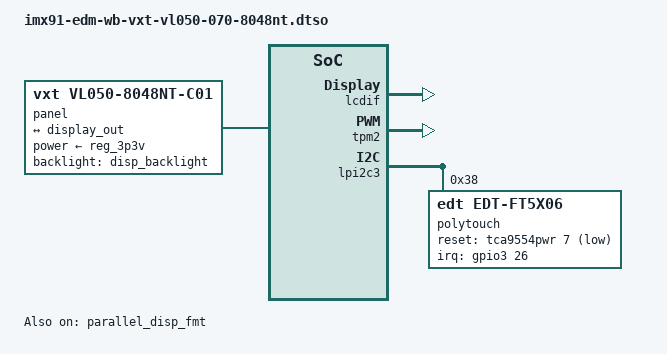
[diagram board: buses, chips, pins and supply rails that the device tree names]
// SPDX-License-Identifier: (GPL-2.0 OR MIT)
/*
 * Copyright 2020 Technexion Ltd.
 *
 * Author: Ray Chang <ray.chang@technexion.com>
 *
 */

/dts-v1/;
/plugin/;

#include <dt-bindings/interrupt-controller/irq.h>
#include <dt-bindings/clock/imx93-clock.h>
#include <dt-bindings/gpio/gpio.h>

&{/} {
	disp_backlight: disp_backlight {
		post-pwm-on-delay-ms = <500>;
		status = "okay";
	};


	panel {
		compatible = "vxt,vl050-8048nt-c01";
		backlight = <&disp_backlight>;
		power-supply = <&reg_3p3v>;

		port {
			panel_in: endpoint {
				remote-endpoint = <&display_out>;
			};
		};
	};
};

&parallel_disp_fmt {
	pinctrl-names = "default";
	pinctrl-0 = <&pinctrl_lcdif>;
	fsl,interface-pix-fmt = "rgb888";
	status = "okay";

	ports {
		#address-cells = <1>;
		#size-cells = <0>;
		port@1 {
			reg = <1>;

			display_out: endpoint {
				remote-endpoint = <&panel_in>;
			};
		};
	};
};

&lcdif {
	assigned-clocks = <&clk IMX93_CLK_VIDEO_PLL>,
			  <&clk IMX93_CLK_MEDIA_DISP_PIX>,
			  <&clk IMX93_CLK_MEDIA_AXI>,
			  <&clk IMX93_CLK_MEDIA_APB>;
	assigned-clock-parents = <&clk IMX93_CLK_24M>,
				 <&clk IMX93_CLK_VIDEO_PLL>,
				 <&clk IMX93_CLK_SYS_PLL_PFD0>,
				 <&clk IMX93_CLK_SYS_PLL_PFD0_DIV2>;
	status = "okay";
};

&media_blk_ctrl {
	/* Disable the base DTS clock assignments for this display overlay. */
	assigned-clocks = <0>;
	assigned-clock-parents = <0>;
	assigned-clock-rates = <0>;
};

&tpm2 {
	status = "okay";
};

&lpi2c3 {
	#address-cells = <1>;
	#size-cells = <0>;
	status = "okay";

	polytouch: edt-ft5x06@38 {
		pinctrl-names = "default";
		pinctrl-0 = <&pinctrl_touch_irq>;
		compatible = "edt,edt-ft5x06";
		reg = <0x38>;
		interrupt-parent = <&gpio3>;
		interrupts = <26 IRQ_TYPE_LEVEL_LOW>;
		reset-gpios = <&tca9554pwr 7 GPIO_ACTIVE_LOW>; /* PICO_P32 */
		touchscreen-size-x = <800>;
		touchscreen-size-y = <480>;
	};
};
